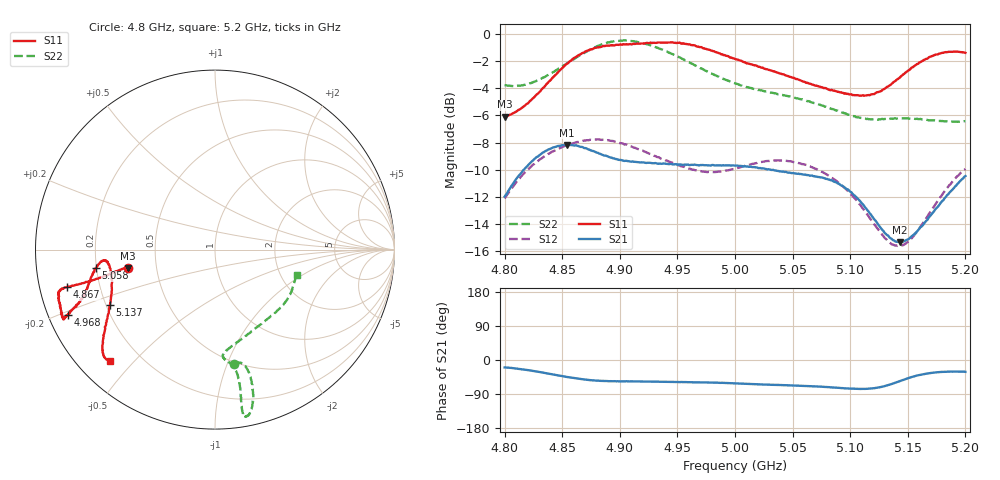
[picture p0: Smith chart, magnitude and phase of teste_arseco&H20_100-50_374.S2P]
! Network Analyzer HP8722D
! Hewlett-Packard
! Data name: Linha & Wilkinson
! Saver's name: Rodrigo Anjos
! Comments: Teste da utilização de aquisição
! continua pelo VNA HP8722D
! Time and date: 6/5/2025 15:41
!  Frequency  S11  S21  S12  S22
# HZ  S  MA R 50
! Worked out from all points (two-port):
!   401 points, 4.8 GHz to 5.2 GHz, reference 50 ohm
!   highest |S21| = -8.16 dB at 4.854 GHz (marker M1); lowest = -15.3 dB at 5.143 GHz (marker M2)
!   |S21| within 3 dB of the highest: 4.806 GHz to 5.093 GHz (286.4 MHz wide, 5.79 % of centre); 5.192057 GHz to end of sweep
!   lowest |S11| = -6.1 dB at 4.8 GHz (marker M3), VSWR 2.97, Z = 17 - j4.61 ohm
!   |S11| at or under -10 dB: nowhere
!   |S22| runs from -6.5 to -0.5 dB; largest |S21 - S12| = 0.62
!   S11 on the Smith chart (normalised r, x): 4.8 GHz: 0.34, -0.09; 4.867 GHz: 0.08, -0.12; 4.968 GHz: 0.06, -0.21; 5.058 GHz: 0.20, -0.07; 5.137 GHz: 0.22, -0.24; 5.2 GHz: 0.09, -0.43
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4.8e9  0.4964 -168.1  0.2518 -19.5  0.248 -140.7  0.6478 -80.4
4.825e9  0.581 -167.3  0.3435 -29.0  0.3309 -144.1  0.6649 -75.6
4.854e9  0.7767 -165.7  0.3907 -44.7  0.3891 -149.6  0.7791 -74.6
4.867e9  0.848 -165.7  0.3841 -50.8  0.4034 -151.9  0.8438 -75.4
4.88e9  0.8898 -165.4  0.3656 -54.5  0.4088 -154.0  0.899 -76.7
4.902e9  0.9129 -162.1  0.3426 -56.3  0.396 -156.7  0.9446 -79.3
4.934e9  0.9305 -156.3  0.3329 -57.4  0.3515 -155.5  0.8834 -80.4
4.947e9  0.9282 -155.3  0.3308 -57.8  0.3344 -153.3  0.8382 -79.9
4.968e9  0.8985 -156.1  0.3288 -59.0  0.3138 -147.4  0.7556 -79.5
5e9  0.8094 -158.9  0.3275 -61.8  0.3198 -137.1  0.6579 -81.2
5.033e9  0.7289 -164.8  0.3161 -65.5  0.3418 -134.2  0.6065 -85.5
5.058e9  0.6711 -171.1  0.3047 -68.0  0.3318 -136.0  0.5747 -84.6
5.067e9  0.6519 -172.9  0.3009 -69.0  0.3232 -136.6  0.5595 -82.7
5.083e9  0.6208 -174.4  0.2893 -72.1  0.2977 -138.1  0.5313 -76.8
5.101e9  0.5995 -172.0  0.2614 -75.7  0.2559 -138.7  0.5013 -66.6
5.116e9  0.5958 -165.4  0.2218 -75.8  0.2132 -135.5  0.4853 -55.9
5.134e9  0.6458 -154.2  0.1784 -65.4  0.1708 -120.9  0.4865 -43.3
5.137e9  0.6603 -152.4  0.1743 -62.5  0.1679 -117.1  0.4871 -41.5
5.143e9  0.6907 -149.1  0.1712 -55.8  0.1656 -109.1  0.4886 -38.1
5.154e9  0.7528 -144.3  0.1808 -44.3  0.1784 -95.1  0.488 -32.3
5.172e9  0.8318 -138.8  0.2206 -33.6  0.2293 -80.9  0.481 -24.6
5.2e9  0.8519 -133.4  0.2999 -31.3  0.3185 -76.8  0.4777 -17.4
